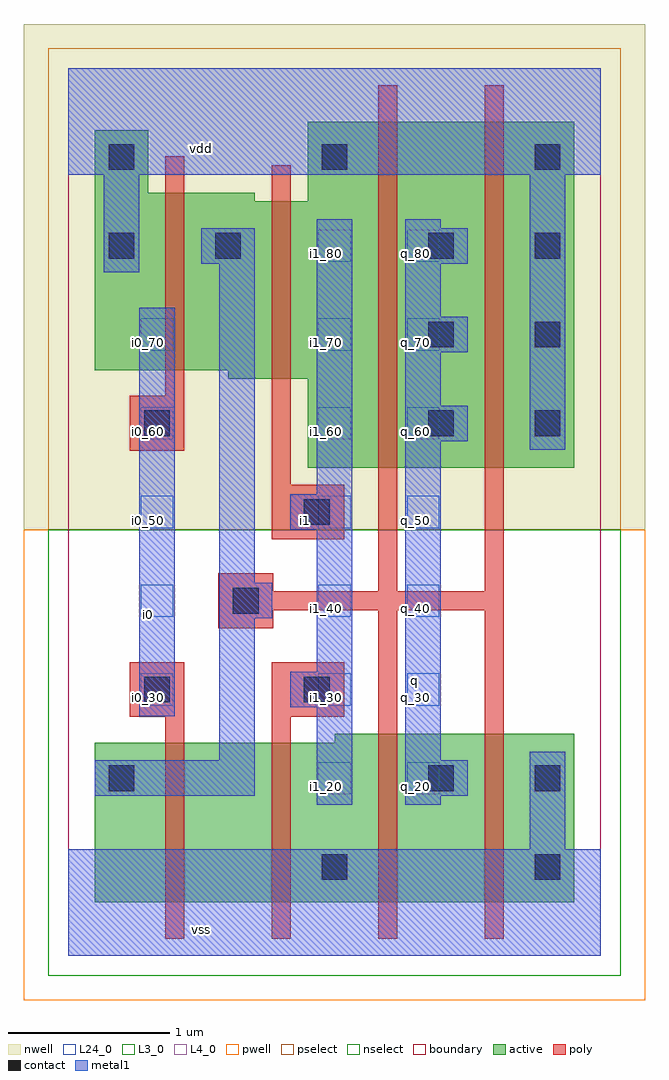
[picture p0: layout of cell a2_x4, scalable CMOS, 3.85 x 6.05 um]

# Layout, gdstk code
import gdstk
lib = gdstk.Library(unit=1e-6, precision=2.5e-09)
def R(c, l, rs):  # rectangles x0, y0, x1, y1
    for r in rs: c.add(gdstk.rectangle(r[:2], r[2:], *l))
def A(c, l, x, y, w, h, nx, ny, dx, dy):  # array of equal rectangles
    R(c, l, [(x+i*dx, y+j*dy, x+i*dx+w, y+j*dy+h) for i in range(nx) for j in range(ny)])
L3_0 = (3, 0)
L4_0 = (4, 0)
L24_0 = (24, 0)
contact = (25, 0)
pwell = (41, 0)
nwell = (42, 0)
active = (43, 0)
pselect = (44, 0)
nselect = (45, 0)
poly = (46, 0)
metal1 = (49, 0)
boundary = (63, 0)

a2_x4 = lib.new_cell('a2_x4')
R(a2_x4, L3_0, [(0.165,0.33,3.135,1.32), (1.65,1.32,3.135,1.375)])
R(a2_x4, L4_0, [(1.485,3.025,3.135,3.575), (0.99,3.575,3.135,3.63), (0.165,3.63,3.135,4.675), (0.165,4.675,1.155,4.73), (1.485,4.675,3.135,5.17), (0.165,4.73,0.495,5.115)])
A(a2_x4, L24_0, 1.55, 1, 0.2, 0.2, 1, 7, 0, 0.55)
A(a2_x4, L24_0, 2.1, 1, 0.2, 0.2, 1, 7, 0, 0.55)
A(a2_x4, L24_0, 0.45, 1.55, 0.2, 0.2, 1, 5, 0, 0.55)
A(a2_x4, contact, 2.23, 3.22, 0.16, 0.16, 1, 3, 0, 0.55)
A(a2_x4, contact, 2.89, 3.22, 0.16, 0.16, 1, 3, 0, 0.55)
A(a2_x4, contact, 0.25, 4.87, 0.16, 0.16, 3, 1, 1.32, 0)
R(a2_x4, contact, [(1.57,0.47,1.73,0.63), (2.89,0.47,3.05,0.63), (0.25,1.02,0.41,1.18), (2.23,1.02,2.39,1.18), (2.89,1.02,3.05,1.18), (0.47,1.57,0.63,1.73), (1.46,1.57,1.62,1.73), (1.02,2.12,1.18,2.28), (1.46,2.67,1.62,2.83), (0.47,3.22,0.63,3.38), (0.25,4.32,0.41,4.48), (0.91,4.32,1.07,4.48)])
R(a2_x4, pwell, [(-0.275,-0.275,3.575,2.64)])
R(a2_x4, nwell, [(-0.275,2.64,3.575,5.775)])
R(a2_x4, active, [(0.165,0.33,3.135,1.32), (1.65,1.32,3.135,1.375), (1.485,3.025,3.135,3.575), (0.99,3.575,3.135,3.63), (0.165,3.63,3.135,4.675), (0.165,4.675,1.155,4.73), (1.485,4.675,3.135,5.17), (0.165,4.73,0.495,5.115)])
R(a2_x4, pselect, [(-0.125,2.64,3.425,5.625)])
R(a2_x4, nselect, [(-0.125,-0.125,3.425,2.64)])
R(a2_x4, poly, [(0.6,0.105,0.72,1.48), (1.26,0.105,1.38,1.48), (1.92,0.105,2.04,2.14), (2.58,0.105,2.7,2.14), (0.38,1.48,0.72,1.82), (1.26,1.48,1.71,1.82), (0.93,2.03,1.27,2.14), (0.93,2.14,2.7,2.26), (0.93,2.26,1.27,2.37), (1.92,2.26,2.04,5.395), (2.58,2.26,2.7,5.395), (1.26,2.58,1.71,2.92), (1.26,2.92,1.38,4.9), (0.38,3.13,0.72,3.47), (0.6,3.47,0.72,4.955)])
A(a2_x4, metal1, 2.09, 3.19, 0.385, 0.22, 1, 3, 0, 0.55)
R(a2_x4, metal1, [(0,0,3.3,0.66), (2.86,0.66,3.08,1.265), (1.54,0.935,1.76,1.54), (2.09,0.935,2.31,0.99), (0.165,0.99,1.155,1.21), (2.09,0.99,2.475,1.21), (0.935,1.21,1.155,2.09), (2.09,1.21,2.31,3.19), (0.44,1.485,0.66,4.015), (1.375,1.54,1.76,1.76), (1.54,1.76,1.76,2.64), (0.935,2.09,1.265,2.31), (0.935,2.31,1.155,4.29), (1.375,2.64,1.76,2.86), (1.54,2.86,1.76,4.565), (2.86,3.135,3.08,4.84), (2.09,3.41,2.31,3.74), (2.09,3.96,2.31,4.29), (0.22,4.235,0.44,4.84), (0.825,4.29,1.155,4.51), (2.09,4.51,2.31,4.565), (0,4.84,3.3,5.5)])
R(a2_x4, boundary, [(0,0,3.3,5.5)])
a2_x4.add(gdstk.Label('vss', (0.825,0.165), layer=49, texttype=0))
a2_x4.add(gdstk.Label('q', (2.145,1.705), layer=49, texttype=0))
a2_x4.add(gdstk.Label('i1', (1.47,2.695), layer=49, texttype=0))
a2_x4.add(gdstk.Label('i0', (0.495,2.1175), layer=49, texttype=0))
a2_x4.add(gdstk.Label('vdd', (0.825,5.005), layer=49, texttype=0))
a2_x4.add(gdstk.Label('q_40', (2.15,2.15), layer=24, texttype=0))
a2_x4.add(gdstk.Label('q_30', (2.15,1.6), layer=24, texttype=0))
a2_x4.add(gdstk.Label('q_20', (2.15,1.05), layer=24, texttype=0))
a2_x4.add(gdstk.Label('q_80', (2.15,4.35), layer=24, texttype=0))
a2_x4.add(gdstk.Label('q_70', (2.15,3.8), layer=24, texttype=0))
a2_x4.add(gdstk.Label('q_60', (2.15,3.25), layer=24, texttype=0))
a2_x4.add(gdstk.Label('q_50', (2.15,2.7), layer=24, texttype=0))
a2_x4.add(gdstk.Label('i0_70', (0.5,3.8), layer=24, texttype=0))
a2_x4.add(gdstk.Label('i0_60', (0.5,3.25), layer=24, texttype=0))
a2_x4.add(gdstk.Label('i0_50', (0.5,2.7), layer=24, texttype=0))
a2_x4.add(gdstk.Label('i0_40', (0.5,2.15), layer=24, texttype=0))
a2_x4.add(gdstk.Label('i0_30', (0.5,1.6), layer=24, texttype=0))
a2_x4.add(gdstk.Label('i1_20', (1.6,1.05), layer=24, texttype=0))
a2_x4.add(gdstk.Label('i1_30', (1.6,1.6), layer=24, texttype=0))
a2_x4.add(gdstk.Label('i1_40', (1.6,2.15), layer=24, texttype=0))
a2_x4.add(gdstk.Label('i1_50', (1.6,2.7), layer=24, texttype=0))
a2_x4.add(gdstk.Label('i1_60', (1.6,3.25), layer=24, texttype=0))
a2_x4.add(gdstk.Label('i1_70', (1.6,3.8), layer=24, texttype=0))
a2_x4.add(gdstk.Label('i1_80', (1.6,4.35), layer=24, texttype=0))

lib.write_gds('a2_x4.gds')
